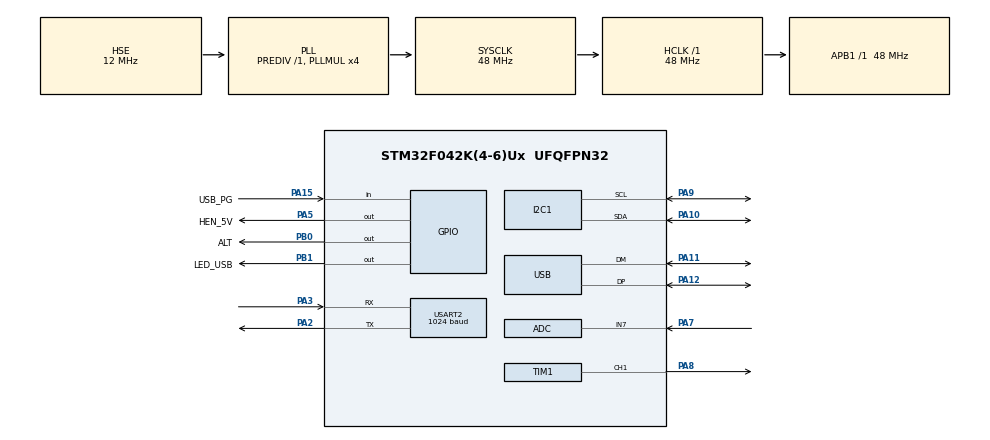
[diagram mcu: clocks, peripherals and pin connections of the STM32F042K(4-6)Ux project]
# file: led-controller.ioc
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Dma.Request0=TIM1_CH1
Dma.TIM1_CH1.0.Direction=DMA_MEMORY_TO_PERIPH
Dma.TIM1_CH1.0.Instance=DMA1_Channel2
Dma.TIM1_CH1.0.MemDataAlignment=DMA_MDATAALIGN_BYTE
Dma.TIM1_CH1.0.MemInc=DMA_MINC_ENABLE
Dma.TIM1_CH1.0.Mode=DMA_CIRCULAR
Dma.TIM1_CH1.0.PeriphDataAlignment=DMA_PDATAALIGN_HALFWORD
Dma.TIM1_CH1.0.PeriphInc=DMA_PINC_DISABLE
Dma.TIM1_CH1.0.Priority=DMA_PRIORITY_LOW
I2C1.Timing=0x20303E5D
Mcu.Family=STM32F0
Mcu.Name=STM32F042K(4-6)Ux
Mcu.Package=UFQFPN32
NVIC.DMA1_Channel2_3_IRQn=true\:0\:0\:false\:false\:true\:false\:true
PA10.Mode=I2C
PA10.Signal=I2C1_SDA
PA11.Mode=Device
PA11.Signal=USB_DM
PA12.Mode=Device
PA12.Signal=USB_DP
PA13.Mode=Serial_Wire
PA13.Signal=SYS_SWDIO
PA14.Mode=Serial_Wire
PA14.Signal=SYS_SWCLK
PA15.GPIO_Label=USB_PG
PA15.GPIO_PuPd=GPIO_PULLUP
PA15.Signal=GPIO_Input
PA2.Mode=Asynchronous
PA2.Signal=USART2_TX
PA3.Mode=Asynchronous
PA3.Signal=USART2_RX
PA5.GPIO_Label=HEN_5V
PA5.Signal=GPIO_Output
PA7.Mode=IN7
PA7.Signal=ADC_IN7
PA8.Signal=S_TIM1_CH1
PA9.Mode=I2C
PA9.Signal=I2C1_SCL
PB0.GPIO_Label=ALT
PB0.Signal=GPIO_Output
PB1.GPIO_Label=LED_USB
PB1.Signal=GPIO_Output
PF0-OSC_IN.Mode=HSE-External-Oscillator
PF0-OSC_IN.Signal=RCC_OSC_IN
PF1-OSC_OUT.Mode=HSE-External-Oscillator
PF1-OSC_OUT.Signal=RCC_OSC_OUT
ProjectManager.HeapSize=0x200
ProjectManager.StackSize=0x400
ProjectManager.TargetToolchain=Makefile
RCC.AHBFreq_Value=48000000
RCC.APB1Freq_Value=48000000
RCC.APB1TimFreq_Value=48000000
RCC.HCLKFreq_Value=48000000
RCC.HSE_VALUE=12000000
RCC.I2c1ClockSelection=RCC_I2C1CLKSOURCE_SYSCLK
RCC.PLLMUL=RCC_PLL_MUL4
RCC.SYSCLKFreq_VALUE=48000000
RCC.SYSCLKSource=RCC_SYSCLKSOURCE_PLLCLK
RCC.USBClockSelection=RCC_USBCLKSOURCE_PLL
RCC.USBFreq_Value=48000000
SH.S_TIM1_CH1.0=TIM1_CH1,PWM Generation1 CH1
TIM1.Channel-PWM\ Generation1\ CH1=TIM_CHANNEL_1
TIM1.Period=59
USART2.BaudRate=1024
USART2.OverrunDisableParam=ADVFEATURE_OVERRUN_DISABLE
USART2.VirtualMode-Asynchronous=VM_ASYNC
VP_TIM1_VS_ClockSourceINT.Mode=Internal
board=custom

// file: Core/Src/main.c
/* USER CODE BEGIN Header */
/**
  ******************************************************************************
  * @file           : main.c
  * @brief          : Main program body
  ******************************************************************************
  * @attention
  *
  * <h2><center>&copy; Copyright (c) 2022 STMicroelectronics.
  * All rights reserved.</center></h2>
  *
  * This software component is licensed by ST under BSD 3-Clause license,
  * the "License"; You may not use this file except in compliance with the
  * License. You may obtain a copy of the License at:
  *                        opensource.org/licenses/BSD-3-Clause
  *
  ******************************************************************************
  */
/* USER CODE END Header */
#include "main.h"

/* USER CODE BEGIN Includes */
#include "led.h"
#include "util.h"
#include "animation.h"
#include <ctype.h>
/* USER CODE END Includes */

ADC_HandleTypeDef hadc;

I2C_HandleTypeDef hi2c1;

TIM_HandleTypeDef htim1;
DMA_HandleTypeDef hdma_tim1_ch1;

UART_HandleTypeDef huart2;

PCD_HandleTypeDef hpcd_USB_FS;

void SystemClock_Config(void);
static void MX_GPIO_Init(void);
static void MX_DMA_Init(void);
static void MX_ADC_Init(void);
static void MX_I2C1_Init(void);
static void MX_TIM1_Init(void);
static void MX_USART2_UART_Init(void);
static void MX_USB_PCD_Init(void);

/* USER CODE BEGIN 0 */

#define BLOCK_SIZE 32
#define N_LEDS (N_LEDS_PER_SIDE*2)

static led_t leds_a[N_LEDS];
static led_t leds_b[N_LEDS];

static led_t * volatile leds_wr = leds_a;
static led_t * volatile leds_rd = leds_b;

static uint8_t pwmData[BLOCK_SIZE*2*24] = {0};

static uint16_t led_current = 0;
static void xfer(uint16_t offset)
{
  HAL_GPIO_WritePin(ALT_GPIO_Port, ALT_Pin, GPIO_PIN_SET);
  for(uint8_t i = 0; i < BLOCK_SIZE; i++)
  {
    if(led_current < N_LEDS) {
      led_t l = leds_rd[led_current];
      led_current++;
      static const uint8_t pwm0 = 19;
      static const uint8_t pwm1 = 38;

#define Xs X(0);X(1);X(2);X(3);X(4);X(5);X(6);X(7);

#define Xc(x, o, c) pwmData[offset + o*8 + x] = (l.c & (1<<(7-x))) ? pwm1:pwm0

#define X(x) Xc(x, 0, g)
      Xs
#undef X

#define X(x) Xc(x, 1, r)
      Xs
#undef X

#define X(x) Xc(x, 2, b)
      Xs
#undef X

#undef Xs
#undef Xc

      offset += 24;

      /*for(uint8_t b = 0; b < 8; b++)
      {
        if(l.g & 0x80)
          pwmData[offset++] = pwm1;
        else
          pwmData[offset++] = pwm0;
        l.g <<= 1;
      }

      for(uint8_t b = 0; b < 8; b++)
      {
        if(l.r & 0x80)
          pwmData[offset++] = pwm1;
        else
          pwmData[offset++] = pwm0;
        l.r <<= 1;
      }
      for(uint8_t b = 0; b < 8; b++)
      {
        if(l.b & 0x80)
          pwmData[offset++] = pwm1;
        else
          pwmData[offset++] = pwm0;
        l.b <<= 1;
      }*/

    }
    else
    {
      if(led_current >= N_LEDS + 2) {
        led_current = 0;
        if(leds_rd == leds_a) {
          leds_rd = leds_b;
          leds_wr = leds_a;
        }
        else
        {
          leds_rd = leds_a;
          leds_wr = leds_b;
        }
      }
      else
        led_current++;
      for(uint8_t j = 0; j<24; j++)
      {
        pwmData[offset++] = 0;
      }
    }

  }
  HAL_GPIO_WritePin(ALT_GPIO_Port, ALT_Pin, GPIO_PIN_RESET);
}

void HAL_TIM_PWM_PulseFinishedHalfCpltCallback(TIM_HandleTypeDef *htim)
{
  xfer(0);

}

void HAL_TIM_PWM_PulseFinishedCallback(TIM_HandleTypeDef *htim)
{
  xfer(BLOCK_SIZE*24);
  //
}

/*void HAL_TIM_PWM_PulseFinishedCallback(TIM_HandleTypeDef *htim)
{
	HAL_TIM_PWM_Stop_DMA(&htim1, TIM_CHANNEL_1);
	datasentflag=1;
}*/

static volatile uint32_t global_brightness = 100;

static led_t scale_brightness(led_t v) {
  led_t r = {v.r*global_brightness/256, v.g*global_brightness/256, v.b*global_brightness/256};
  return r;
}

void led_set_lr(led_t *buf, uint16_t i, led_t v)
{
  led_t vs = scale_brightness(v);
  buf[N_LEDS_PER_SIDE-1-i] = vs;
  buf[N_LEDS_PER_SIDE+i] = vs;
}

void led_set_r(led_t *buf, uint16_t i, led_t v)
{
  led_t vs = scale_brightness(v);
  buf[N_LEDS_PER_SIDE-1-i] = vs;
}

void led_set_l(led_t *buf, uint16_t i, led_t v)
{
  led_t vs = scale_brightness(v);
  buf[N_LEDS_PER_SIDE+i] = vs;
}

static void apply_foldback(led_t *buf)
{
  uint32_t sum = 0; // in units of 17.5uA
  for(uint16_t i = 0; i < N_LEDS; i++) {
    sum += buf[i].r;
    sum += buf[i].g;
    sum += buf[i].b;
  }

  static const uint32_t imax = 124240;
  if(sum > imax) {
    // sum/imax
    for(uint16_t i = 0; i < N_LEDS; i++) {
      buf[i].r = buf[i].r * imax / sum;
      buf[i].g = buf[i].g * imax / sum;
      buf[i].b = buf[i].b * imax / sum;
    }
  }

}

volatile uint32_t speed = 500;
volatile uint32_t pattern_next = 4;
volatile uint8_t speed_override = 0;
uint32_t step_inc = 125;

static void update_step_inc(uint8_t speed_mul)
{
  step_inc = 125 * 256 / (speed_mul+1);
}

/* USER CODE END 0 */

int main(void)
{

  /* MCU Configuration--------------------------------------------------------*/

  /* Reset of all peripherals, Initializes the Flash interface and the Systick. */
  HAL_Init();

  /* Configure the system clock */
  SystemClock_Config();

  /* Initialize all configured peripherals */
  MX_GPIO_Init();
  MX_DMA_Init();
  MX_ADC_Init();
  MX_I2C1_Init();
  MX_TIM1_Init();
  MX_USART2_UART_Init();
  MX_USB_PCD_Init();
  /* USER CODE BEGIN 2 */

  uint16_t pg_counter = 0;
  for(uint16_t i = 0; i<500; i++) {
    HAL_Delay(10);

    // power is good
    if(HAL_GPIO_ReadPin(USB_PG_GPIO_Port, USB_PG_Pin) == GPIO_PIN_RESET) {
      pg_counter++;
    }
    else {
      pg_counter = 0;
    }
    if(pg_counter > 200) {
      break;
    }
  }

  if(!pg_counter) {
    while(1) {
    HAL_GPIO_TogglePin(LED_USB_GPIO_Port, LED_USB_Pin);
    HAL_Delay(100);
    }
  }

  HAL_GPIO_WritePin(LED_USB_GPIO_Port, LED_USB_Pin, GPIO_PIN_SET);
  HAL_GPIO_WritePin(HEN_5V_GPIO_Port, HEN_5V_Pin, GPIO_PIN_SET);
  //HAL_TIM_PWM_Start(&htim1, TIM_CHANNEL_1);
  /*for(uint16_t i = 0; i<MAX_LED; i++) {
    for(uint8_t j = 0; j<24; j++) {
      pwmData[i*24 + j] = 20;
    }
  }
  pwmData[0] = 40;*/

  HAL_TIM_PWM_Start_DMA(&htim1, TIM_CHANNEL_1, (uint32_t*)pwmData, ARRAY_SIZE(pwmData));

  /* USER CODE END 2 */

  /* Infinite loop */
  /* USER CODE BEGIN WHILE */

  led_t *wrbuf=0;
  int32_t mm18_acc=0;
  int32_t local_speed = 0;
  int32_t local_mm18_acc=0;
  animation_set_pattern(0);
  while (1)
  {
    uint8_t uart_rxbuf;
    if(HAL_UART_Receive(&huart2, (uint8_t*)&uart_rxbuf, 1, 0) == HAL_OK)
    {
      if(uart_rxbuf >= 0x80) {
        static uint8_t counts_last = 0;
        uint8_t counts = (uart_rxbuf - 0x80);
        uint8_t delta_counts = (counts-counts_last)&0x7f;
        counts_last = counts;
        uint16_t delta_mm = delta_counts * 5;
        mm18_acc += delta_mm * 18;
      }
      else {
        static uint8_t rx_param = 0xff;
        static uint8_t rx_nibble = 0;
        static uint8_t rx_value = 0;
        if(uart_rxbuf >= 'A' && uart_rxbuf <= 'Z') {
          rx_param = uart_rxbuf - 'A';
          rx_nibble = 0;
        }
        else if(isxdigit(uart_rxbuf)) {
          uint8_t v=0xff;
          if(uart_rxbuf >= '0' && uart_rxbuf <= '9')
            v = uart_rxbuf - '0';
          else if(uart_rxbuf >= 'a' && uart_rxbuf <= 'f')
            v = uart_rxbuf - 'a' + 10;
          if(v != 0xff) {
            if(rx_nibble == 0) {
              rx_value = v << 4;
              rx_nibble = 1;
            }
            else if(rx_nibble == 1) {
              rx_nibble = 2;
              rx_value |= v;
              switch(rx_param) {
                case 0: //animation
                  animation_set_pattern(rx_value);
                  break;
                case 1: //brighness
                  global_brightness = rx_value;
                  break;
                case 2: //speed override
                  speed_override = rx_value;
                break;
                case 3: //speed mul
                  update_step_inc(rx_value);
                break;
              }
            }
          }
        }

      }
    }
    uint32_t ticks = HAL_GetTick();
    /*{
      static uint32_t ticks_last;

      if(ticks-ticks_last > speed)
      {
        mm18_acc += 5*18;
        ticks_last = ticks;
      }
    }*/
    if(wrbuf != leds_wr) {
      wrbuf = leds_wr;

      local_speed = mm18_acc / 16;
      mm18_acc -= local_speed;
      local_mm18_acc += local_speed;

      static uint8_t idle_counter = 0;
      uint8_t steps = 0;
      while(local_mm18_acc >= step_inc) {
        local_mm18_acc -= step_inc;
        steps++;
        idle_counter = 10;
      }
      {
        static uint32_t ticks_last = 0;
         if(ticks-ticks_last > 1000) {
           ticks_last = ticks;
           if(idle_counter)
             idle_counter--;
        }

      }

      if(idle_counter==0){
        static uint32_t ticks_last;
        if(ticks-ticks_last > 50)
        {
          steps = 1;
          ticks_last = ticks;
        }
      }
      if(speed_override) {
        steps = 0;
        static uint16_t speed_acc = 0;
        speed_acc += speed_override;
        while(speed_acc >= 256) {
          speed_acc -= 25;
          steps++;
        }
      }
      /*for(uint16_t i = 0; i < N_LEDS_PER_SIDE; i++) {
        led_t v = {0xff, 0xff, 0xff};
        led_set_lr(wrbuf, i, v);
      }*/

      {
        static uint8_t pattern_next_last;
        if(pattern_next != pattern_next_last) {
          animation_set_pattern(pattern_next);
          pattern_next_last = pattern_next;
        }
      }
      animation_render(wrbuf, steps);
      apply_foldback(wrbuf);
#if 0
      static uint16_t a = 0;
      uint16_t m = 13;
      if(steps) {
        while(steps--) {
          a++;
          if(a == m)
            a= 0;
        }
      }
      for(uint16_t i = 0; i < N_LEDS_PER_SIDE; i++) {
         led_t v= {0,0,0};
         uint16_t x = i %m;
         x = (x+(m-1-a))%m;

         //if(((i+(N_LEDS_PER_SIDE-1-a)) % 48) < 5) {
         if(x < 1) {
          v.r = (1)? 0xff:0;
          //v.g = (1)? 0x2f:0;
          //v.b = (1)? 0x2f:0;
         }

          led_set_lr(wrbuf, i, v);
      }
      /*for(uint16_t i = 0; i < N_LEDS; i++) {
        if(a==i) {
          wrbuf[i].r = 0xff;
          wrbuf[i].g = 0xff;
          wrbuf[i].b = 0xff;
        }
        else {
          wrbuf[i].r = 0;
          wrbuf[i].g = 0;
          wrbuf[i].b = 0;
        }*/
      //}
#endif
    }
    /* USER CODE END WHILE */

  }
}

void SystemClock_Config(void)
{
  RCC_OscInitTypeDef RCC_OscInitStruct = {0};
  RCC_ClkInitTypeDef RCC_ClkInitStruct = {0};
  RCC_PeriphCLKInitTypeDef PeriphClkInit = {0};

  /** Initializes the RCC Oscillators according to the specified parameters
  * in the RCC_OscInitTypeDef structure.
  */
  RCC_OscInitStruct.OscillatorType = RCC_OSCILLATORTYPE_HSI14|RCC_OSCILLATORTYPE_HSE;
  RCC_OscInitStruct.HSEState = RCC_HSE_ON;
  RCC_OscInitStruct.HSI14State = RCC_HSI14_ON;
  RCC_OscInitStruct.HSI14CalibrationValue = 16;
  RCC_OscInitStruct.PLL.PLLState = RCC_PLL_ON;
  RCC_OscInitStruct.PLL.PLLSource = RCC_PLLSOURCE_HSE;
  RCC_OscInitStruct.PLL.PLLMUL = RCC_PLL_MUL4;
  RCC_OscInitStruct.PLL.PREDIV = RCC_PREDIV_DIV1;
  if (HAL_RCC_OscConfig(&RCC_OscInitStruct) != HAL_OK)
  {
    Error_Handler();
  }
  /** Initializes the CPU, AHB and APB buses clocks
  */
  RCC_ClkInitStruct.ClockType = RCC_CLOCKTYPE_HCLK|RCC_CLOCKTYPE_SYSCLK
                              |RCC_CLOCKTYPE_PCLK1;
  RCC_ClkInitStruct.SYSCLKSource = RCC_SYSCLKSOURCE_PLLCLK;
  RCC_ClkInitStruct.AHBCLKDivider = RCC_SYSCLK_DIV1;
  RCC_ClkInitStruct.APB1CLKDivider = RCC_HCLK_DIV1;

  if (HAL_RCC_ClockConfig(&RCC_ClkInitStruct, FLASH_LATENCY_1) != HAL_OK)
  {
    Error_Handler();
  }
  PeriphClkInit.PeriphClockSelection = RCC_PERIPHCLK_USB|RCC_PERIPHCLK_I2C1;
  PeriphClkInit.I2c1ClockSelection = RCC_I2C1CLKSOURCE_SYSCLK;
  PeriphClkInit.UsbClockSelection = RCC_USBCLKSOURCE_PLL;

  if (HAL_RCCEx_PeriphCLKConfig(&PeriphClkInit) != HAL_OK)
  {
    Error_Handler();
  }
}

static void MX_ADC_Init(void)
{

  ADC_ChannelConfTypeDef sConfig = {0};

  /** Configure the global features of the ADC (Clock, Resolution, Data Alignment and number of conversion)
  */
  hadc.Instance = ADC1;
  hadc.Init.ClockPrescaler = ADC_CLOCK_ASYNC_DIV1;
  hadc.Init.Resolution = ADC_RESOLUTION_12B;
  hadc.Init.DataAlign = ADC_DATAALIGN_RIGHT;
  hadc.Init.ScanConvMode = ADC_SCAN_DIRECTION_FORWARD;
  hadc.Init.EOCSelection = ADC_EOC_SINGLE_CONV;
  hadc.Init.LowPowerAutoWait = DISABLE;
  hadc.Init.LowPowerAutoPowerOff = DISABLE;
  hadc.Init.ContinuousConvMode = DISABLE;
  hadc.Init.DiscontinuousConvMode = DISABLE;
  hadc.Init.ExternalTrigConv = ADC_SOFTWARE_START;
  hadc.Init.ExternalTrigConvEdge = ADC_EXTERNALTRIGCONVEDGE_NONE;
  hadc.Init.DMAContinuousRequests = DISABLE;
  hadc.Init.Overrun = ADC_OVR_DATA_PRESERVED;
  if (HAL_ADC_Init(&hadc) != HAL_OK)
  {
    Error_Handler();
  }
  /** Configure for the selected ADC regular channel to be converted.
  */
  sConfig.Channel = ADC_CHANNEL_7;
  sConfig.Rank = ADC_RANK_CHANNEL_NUMBER;
  sConfig.SamplingTime = ADC_SAMPLETIME_1CYCLE_5;
  if (HAL_ADC_ConfigChannel(&hadc, &sConfig) != HAL_OK)
  {
    Error_Handler();
  }

}

static void MX_I2C1_Init(void)
{

  hi2c1.Instance = I2C1;
  hi2c1.Init.Timing = 0x20303E5D;
  hi2c1.Init.OwnAddress1 = 0;
  hi2c1.Init.AddressingMode = I2C_ADDRESSINGMODE_7BIT;
  hi2c1.Init.DualAddressMode = I2C_DUALADDRESS_DISABLE;
  hi2c1.Init.OwnAddress2 = 0;
  hi2c1.Init.OwnAddress2Masks = I2C_OA2_NOMASK;
  hi2c1.Init.GeneralCallMode = I2C_GENERALCALL_DISABLE;
  hi2c1.Init.NoStretchMode = I2C_NOSTRETCH_DISABLE;
  if (HAL_I2C_Init(&hi2c1) != HAL_OK)
  {
    Error_Handler();
  }
  /** Configure Analogue filter
  */
  if (HAL_I2CEx_ConfigAnalogFilter(&hi2c1, I2C_ANALOGFILTER_ENABLE) != HAL_OK)
  {
    Error_Handler();
  }
  /** Configure Digital filter
  */
  if (HAL_I2CEx_ConfigDigitalFilter(&hi2c1, 0) != HAL_OK)
  {
    Error_Handler();
  }

}

static void MX_TIM1_Init(void)
{

  TIM_ClockConfigTypeDef sClockSourceConfig = {0};
  TIM_MasterConfigTypeDef sMasterConfig = {0};
  TIM_OC_InitTypeDef sConfigOC = {0};
  TIM_BreakDeadTimeConfigTypeDef sBreakDeadTimeConfig = {0};

  htim1.Instance = TIM1;
  htim1.Init.Prescaler = 0;
  htim1.Init.CounterMode = TIM_COUNTERMODE_UP;
  htim1.Init.Period = 59;
  htim1.Init.ClockDivision = TIM_CLOCKDIVISION_DIV1;
  htim1.Init.RepetitionCounter = 0;
  htim1.Init.AutoReloadPreload = TIM_AUTORELOAD_PRELOAD_DISABLE;
  if (HAL_TIM_Base_Init(&htim1) != HAL_OK)
  {
    Error_Handler();
  }
  sClockSourceConfig.ClockSource = TIM_CLOCKSOURCE_INTERNAL;
  if (HAL_TIM_ConfigClockSource(&htim1, &sClockSourceConfig) != HAL_OK)
  {
    Error_Handler();
  }
  if (HAL_TIM_PWM_Init(&htim1) != HAL_OK)
  {
    Error_Handler();
  }
  sMasterConfig.MasterOutputTrigger = TIM_TRGO_RESET;
  sMasterConfig.MasterSlaveMode = TIM_MASTERSLAVEMODE_DISABLE;
  if (HAL_TIMEx_MasterConfigSynchronization(&htim1, &sMasterConfig) != HAL_OK)
  {
    Error_Handler();
  }
  sConfigOC.OCMode = TIM_OCMODE_PWM1;
  sConfigOC.Pulse = 0;
  sConfigOC.OCPolarity = TIM_OCPOLARITY_HIGH;
  sConfigOC.OCNPolarity = TIM_OCNPOLARITY_HIGH;
  sConfigOC.OCFastMode = TIM_OCFAST_DISABLE;
  sConfigOC.OCIdleState = TIM_OCIDLESTATE_RESET;
  sConfigOC.OCNIdleState = TIM_OCNIDLESTATE_RESET;
  if (HAL_TIM_PWM_ConfigChannel(&htim1, &sConfigOC, TIM_CHANNEL_1) != HAL_OK)
  {
    Error_Handler();
  }
  sBreakDeadTimeConfig.OffStateRunMode = TIM_OSSR_DISABLE;
  sBreakDeadTimeConfig.OffStateIDLEMode = TIM_OSSI_DISABLE;
  sBreakDeadTimeConfig.LockLevel = TIM_LOCKLEVEL_OFF;
  sBreakDeadTimeConfig.DeadTime = 0;
  sBreakDeadTimeConfig.BreakState = TIM_BREAK_DISABLE;
  sBreakDeadTimeConfig.BreakPolarity = TIM_BREAKPOLARITY_HIGH;
  sBreakDeadTimeConfig.AutomaticOutput = TIM_AUTOMATICOUTPUT_DISABLE;
  if (HAL_TIMEx_ConfigBreakDeadTime(&htim1, &sBreakDeadTimeConfig) != HAL_OK)
  {
    Error_Handler();
  }
  HAL_TIM_MspPostInit(&htim1);

}

static void MX_USART2_UART_Init(void)
{

  huart2.Instance = USART2;
  huart2.Init.BaudRate = 1024;
  huart2.Init.WordLength = UART_WORDLENGTH_8B;
  huart2.Init.StopBits = UART_STOPBITS_1;
  huart2.Init.Parity = UART_PARITY_NONE;
  huart2.Init.Mode = UART_MODE_TX_RX;
  huart2.Init.HwFlowCtl = UART_HWCONTROL_NONE;
  huart2.Init.OverSampling = UART_OVERSAMPLING_16;
  huart2.Init.OneBitSampling = UART_ONE_BIT_SAMPLE_DISABLE;
  huart2.AdvancedInit.AdvFeatureInit = UART_ADVFEATURE_RXOVERRUNDISABLE_INIT;
  huart2.AdvancedInit.OverrunDisable = UART_ADVFEATURE_OVERRUN_DISABLE;
  if (HAL_UART_Init(&huart2) != HAL_OK)
  {
    Error_Handler();
  }

}

static void MX_USB_PCD_Init(void)
{

  hpcd_USB_FS.Instance = USB;
  hpcd_USB_FS.Init.dev_endpoints = 8;
  hpcd_USB_FS.Init.speed = PCD_SPEED_FULL;
  hpcd_USB_FS.Init.phy_itface = PCD_PHY_EMBEDDED;
  hpcd_USB_FS.Init.low_power_enable = DISABLE;
  hpcd_USB_FS.Init.lpm_enable = DISABLE;
  hpcd_USB_FS.Init.battery_charging_enable = DISABLE;
  if (HAL_PCD_Init(&hpcd_USB_FS) != HAL_OK)
  {
    Error_Handler();
  }

}

static void MX_DMA_Init(void)
{

  /* DMA controller clock enable */
  __HAL_RCC_DMA1_CLK_ENABLE();

  /* DMA interrupt init */
  /* DMA1_Channel2_3_IRQn interrupt configuration */
  HAL_NVIC_SetPriority(DMA1_Channel2_3_IRQn, 0, 0);
  HAL_NVIC_EnableIRQ(DMA1_Channel2_3_IRQn);

}

static void MX_GPIO_Init(void)
{
  GPIO_InitTypeDef GPIO_InitStruct = {0};

  /* GPIO Ports Clock Enable */
  __HAL_RCC_GPIOF_CLK_ENABLE();
  __HAL_RCC_GPIOA_CLK_ENABLE();
  __HAL_RCC_GPIOB_CLK_ENABLE();

  /*Configure GPIO pin Output Level */
  HAL_GPIO_WritePin(HEN_5V_GPIO_Port, HEN_5V_Pin, GPIO_PIN_RESET);

  /*Configure GPIO pin Output Level */
  HAL_GPIO_WritePin(GPIOB, ALT_Pin|LED_USB_Pin, GPIO_PIN_RESET);

  /*Configure GPIO pin : HEN_5V_Pin */
  GPIO_InitStruct.Pin = HEN_5V_Pin;
  GPIO_InitStruct.Mode = GPIO_MODE_OUTPUT_PP;
  GPIO_InitStruct.Pull = GPIO_NOPULL;
  GPIO_InitStruct.Speed = GPIO_SPEED_FREQ_LOW;
  HAL_GPIO_Init(HEN_5V_GPIO_Port, &GPIO_InitStruct);

  /*Configure GPIO pins : ALT_Pin LED_USB_Pin */
  GPIO_InitStruct.Pin = ALT_Pin|LED_USB_Pin;
  GPIO_InitStruct.Mode = GPIO_MODE_OUTPUT_PP;
  GPIO_InitStruct.Pull = GPIO_NOPULL;
  GPIO_InitStruct.Speed = GPIO_SPEED_FREQ_LOW;
  HAL_GPIO_Init(GPIOB, &GPIO_InitStruct);

  /*Configure GPIO pin : USB_PG_Pin */
  GPIO_InitStruct.Pin = USB_PG_Pin;
  GPIO_InitStruct.Mode = GPIO_MODE_INPUT;
  GPIO_InitStruct.Pull = GPIO_PULLUP;
  HAL_GPIO_Init(USB_PG_GPIO_Port, &GPIO_InitStruct);

}

void Error_Handler(void)
{
  __disable_irq();
  while (1)
  {
  }
}

/************************ (C) COPYRIGHT STMicroelectronics *****END OF FILE****/
